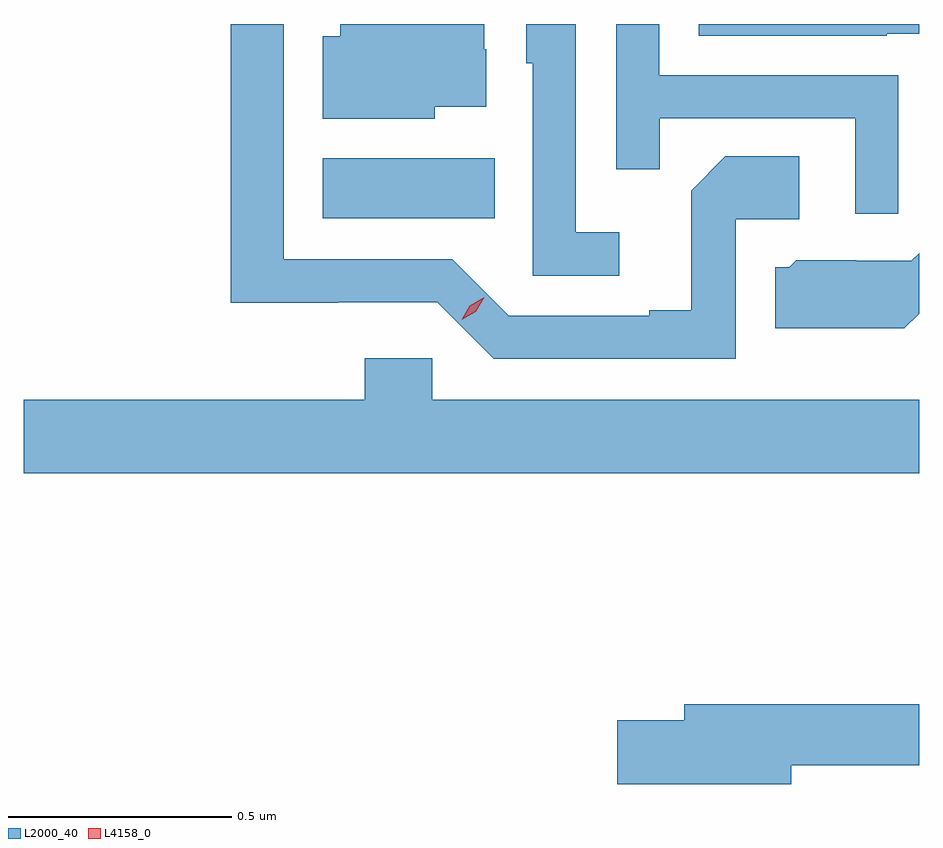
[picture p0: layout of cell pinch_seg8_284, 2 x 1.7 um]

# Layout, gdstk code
import gdstk
lib = gdstk.Library(unit=1e-6, precision=1e-09)
def R(c, l, rs):  # rectangles x0, y0, x1, y1
    for r in rs: c.add(gdstk.rectangle(r[:2], r[2:], *l))
def P(c, l, *ps):  # polygons
    for p in ps: c.add(gdstk.Polygon(p, *l))
L2000_40 = (2000, 40)
L4158_0 = (4158, 0)

pinch_seg8_284 = lib.new_cell('pinch_seg8_284')
R(pinch_seg8_284, L2000_40, [(529.202,1137.05,529.586,1137.184)])
P(pinch_seg8_284, L2000_40, [(530.462,1137.462),(530.534,1137.462),(530.534,1137.484),(530.042,1137.484),(530.042,1137.458),(530.462,1137.458)],
  [(529.864,1137.019),(529.767,1137.019),(529.767,1137.484),(529.656,1137.484),(529.656,1137.396),(529.671,1137.396),(529.671,1136.922),(529.864,1136.922)],
  [(530.124,1137.048),(530.266,1137.048),(530.266,1137.188),(530.101,1137.188),(530.025,1137.112),(530.025,1136.845),(529.931,1136.845),(529.931,1136.832),(529.617,1136.832),(529.491,1136.958),(529.114,1136.958),(529.114,1137.484),(528.996,1137.484),(528.996,1136.861),(529.236,1136.861),(529.236,1136.862),(529.458,1136.862),(529.584,1136.736),(530.124,1136.736)],
  [(529.452,1137.299),(529.567,1137.299),(529.567,1137.428),(529.563,1137.428),(529.563,1137.484),(529.241,1137.484),(529.241,1137.457),(529.202,1137.457),(529.202,1137.272),(529.452,1137.272)],
  [(530.487,1137.369),(529.953,1137.369),(529.953,1137.484),(529.857,1137.484),(529.857,1137.16),(529.955,1137.16),(529.955,1137.273),(530.391,1137.273),(530.391,1137.06),(530.487,1137.06)],
  [(530.534,1136.837),(530.534,1136.972),(530.517,1136.955),(530.394,1136.955),(530.394,1136.956),(530.26,1136.956),(530.244,1136.94),(530.213,1136.94),(530.213,1136.804),(530.501,1136.804)],
  [(530.534,1136.644),(529.446,1136.644),(529.446,1136.737),(529.295,1136.737),(529.295,1136.644),(528.534,1136.644),(528.534,1136.48),(530.534,1136.48)],
  [(530.248,1135.828),(530.534,1135.828),(530.534,1135.964),(530.009,1135.964),(530.009,1135.928),(529.86,1135.928),(529.86,1135.786),(530.248,1135.786)])
P(pinch_seg8_284, L4158_0, [(529.512,1136.823),(529.512,1136.823),(529.53,1136.855),(529.562,1136.874),(529.562,1136.874),(529.562,1136.874),(529.544,1136.841),(529.512,1136.823)])

lib.write_gds('pinch_seg8_284.gds')
